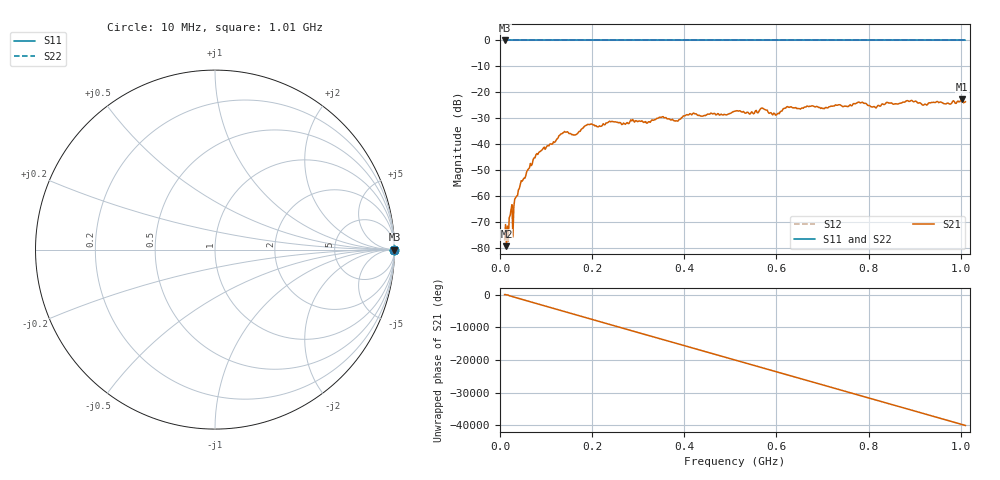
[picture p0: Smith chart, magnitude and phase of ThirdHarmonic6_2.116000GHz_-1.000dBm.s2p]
! 8/17/2025 1:18:13 AM
! C:\ANRITSUVNA\TEMP\TEMP.S2P
! CHANNEL.1
! TR.MEASUREMENT
! RAW.DATA
! RF.CORRECTION.OFF
! AVERAGING.OFF
! IF.BANDWIDTH: 5KHZ
! SWEEPTYPE:  FREQ.SWEEP(Linear)
! Reference Plane Port Info
! PORT:  PORT1  PORT2
! DISTANCE:  0  m  0  m
! TIME:  0  s  0  s
! PHASE.OFFSET:  0  deg.  0  deg.
! LOSS:  0  dB  0  dB
! REF.LOSS:  0  dB  0  dB
! REF.FREQ:  0  Hz  0  Hz
! Power Info
! POWER:  -20  dBm  -20  dBm
! EFF.POWER:  -20  dBm  -20  dBm
! SOURCE.ATTEN:  0  dB  0  dB
! TEST.ATTEN:  0  dB  0  dB
# GHZ S RI R 50.0
! FREQ.GHZ  S11RE  S11IM  S21RE  S21IM  S12RE  S12IM  S22RE  S22IM
!; PortSelection: Port_12
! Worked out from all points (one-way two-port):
!   501 points, 10 MHz to 1.01 GHz, reference 50 ohm
!   highest |S21| = -22.67 dB at 1.002 GHz (marker M1); lowest = -79.3 dB at 14 MHz (marker M2)
!   lowest |S11| = 0.0 dB at 10 MHz (marker M3)
!   |S11| at or under -10 dB: nowhere
!   |S22| runs from 0.0 to 0.0 dB; largest |S21 - S12| = 1.1
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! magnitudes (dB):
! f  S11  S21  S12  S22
! 10 MHz  0.0  -76.9  0.0  0.0
! 14 MHz  0.0  -79.3  0.0  0.0
! 22 MHz  0.0  -67.4  0.0  0.0
! 32 MHz  0.0  -61.1  0.0  0.0
! 34 MHz  0.0  -60.6  0.0  0.0
! 44 MHz  0.0  -55.5  0.0  0.0
! 76 MHz  0.0  -45.2  0.0  0.0
! 136 MHz  0.0  -35.7  0.0  0.0
! 164 MHz  0.0  -36.4  0.0  0.0
! 178 MHz  0.0  -34.0  0.0  0.0
! 344 MHz  0.0  -29.9  0.0  0.0
! 382 MHz  0.0  -31.0  0.0  0.0
! 416 MHz  0.0  -28.7  0.0  0.0
! 510 MHz  0.0  -27.2  0.0  0.0
! 570 MHz  0.0  -26.1  0.0  0.0
! 602 MHz  0.0  -28.3  0.0  0.0
! 622 MHz  0.0  -25.6  0.0  0.0
! 678 MHz  0.0  -25.2  0.0  0.0
! 814 MHz  0.0  -25.7  0.0  0.0
! 844 MHz  0.0  -24.1  0.0  0.0
! 1.002 GHz  0.0  -22.7  0.0  0.0
! 1.01 GHz  0.0  -23.6  0.0  0.0
